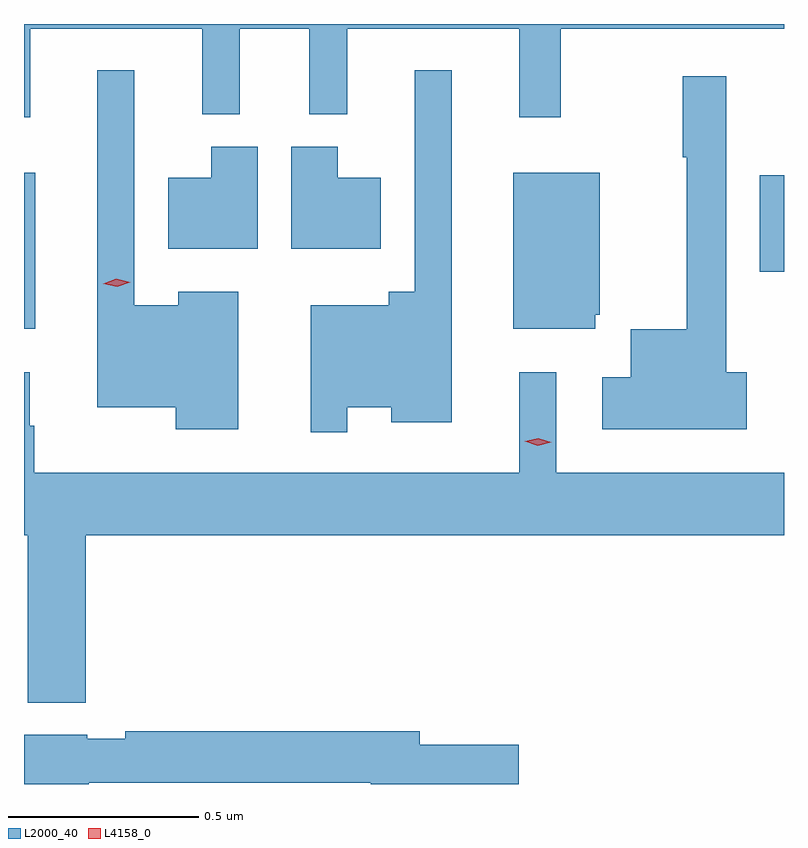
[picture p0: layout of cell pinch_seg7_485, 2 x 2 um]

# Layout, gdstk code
import gdstk
lib = gdstk.Library(unit=1e-6, precision=1e-09)
def R(c, l, rs):  # rectangles x0, y0, x1, y1
    for r in rs: c.add(gdstk.rectangle(r[:2], r[2:], *l))
def P(c, l, *ps):  # polygons
    for p in ps: c.add(gdstk.Polygon(p, *l))
L2000_40 = (2000, 40)
L4158_0 = (4158, 0)

pinch_seg7_485 = lib.new_cell('pinch_seg7_485')
R(pinch_seg7_485, L2000_40, [(218.155,1071.755,218.185,1072.165), (220.091,1071.905,220.155,1072.159)])
P(pinch_seg7_485, L2000_40, [(218.171,1072.544),(218.624,1072.544),(218.624,1072.319),(218.723,1072.319),(218.723,1072.544),(218.906,1072.544),(218.906,1072.319),(219.005,1072.319),(219.005,1072.544),(219.458,1072.544),(219.458,1072.311),(219.568,1072.311),(219.568,1072.544),(220.155,1072.544),(220.155,1072.557),(218.155,1072.557),(218.155,1072.311),(218.171,1072.311)],
  [(218.719,1071.853),(218.561,1071.853),(218.561,1071.817),(218.445,1071.817),(218.445,1072.435),(218.348,1072.435),(218.348,1071.548),(218.554,1071.548),(218.554,1071.491),(218.719,1071.491)],
  [(219.006,1071.548),(219.122,1071.548),(219.122,1071.509),(219.28,1071.509),(219.28,1072.435),(219.183,1072.435),(219.183,1071.853),(219.115,1071.853),(219.115,1071.817),(218.91,1071.817),(218.91,1071.483),(219.006,1071.483)],
  [(220.057,1071.641),(220.003,1071.641),(220.003,1072.42),(219.889,1072.42),(219.889,1072.207),(219.899,1072.207),(219.899,1071.754),(219.752,1071.754),(219.752,1071.628),(219.677,1071.628),(219.677,1071.491),(220.057,1071.491)],
  [(218.77,1072.234),(218.648,1072.234),(218.648,1072.153),(218.534,1072.153),(218.534,1071.965),(218.77,1071.965)],
  [(219.094,1072.153),(218.98,1072.153),(218.98,1072.234),(218.858,1072.234),(218.858,1071.965),(219.094,1071.965)],
  [(219.658,1071.792),(219.67,1071.792),(219.67,1072.165),(219.443,1072.165),(219.443,1071.755),(219.658,1071.755)],
  [(218.318,1071.212),(220.155,1071.212),(220.155,1071.376),(219.555,1071.376),(219.555,1071.64),(219.458,1071.64),(219.458,1071.376),(218.182,1071.376),(218.182,1071.5),(218.17,1071.5),(218.17,1071.64),(218.155,1071.64),(218.155,1071.212),(218.165,1071.212),(218.165,1070.771),(218.318,1070.771)],
  [(218.326,1070.56),(219.068,1070.56),(219.068,1070.557),(219.457,1070.557),(219.457,1070.66),(219.196,1070.66),(219.196,1070.696),(218.422,1070.696),(218.422,1070.676),(218.322,1070.676),(218.322,1070.686),(218.155,1070.686),(218.155,1070.557),(218.326,1070.557)])
P(pinch_seg7_485, L4158_0, [(219.507,1071.447),(219.473,1071.459),(219.472,1071.459),(219.473,1071.459),(219.508,1071.467),(219.542,1071.456),(219.542,1071.456),(219.542,1071.456)],
  [(218.4,1071.866),(218.363,1071.873),(218.363,1071.874),(218.363,1071.874),(218.398,1071.886),(218.435,1071.878),(218.435,1071.878),(218.435,1071.878)])

lib.write_gds('pinch_seg7_485.gds')
